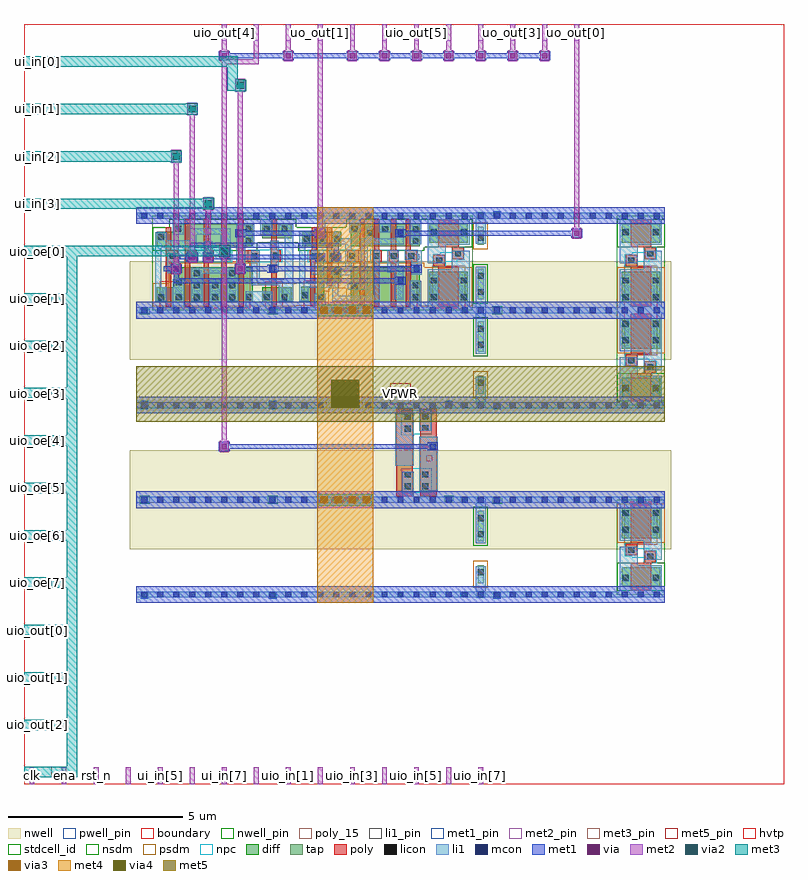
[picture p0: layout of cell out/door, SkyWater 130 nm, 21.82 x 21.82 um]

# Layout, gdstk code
import gdstk
lib = gdstk.Library(unit=1e-6, precision=1e-09)
def R(c, l, rs):  # rectangles x0, y0, x1, y1
    for r in rs: c.add(gdstk.rectangle(r[:2], r[2:], *l))
def A(c, l, x, y, w, h, nx, ny, dx, dy):  # array of equal rectangles
    R(c, l, [(x+i*dx, y+j*dy, x+i*dx+w, y+j*dy+h) for i in range(nx) for j in range(ny)])
nwell_pin = (64, 16)
nwell = (64, 20)
diff = (65, 20)
tap = (65, 44)
poly_15 = (66, 15)
poly = (66, 20)
licon = (66, 44)
li1_pin = (67, 16)
li1 = (67, 20)
mcon = (67, 44)
met1_pin = (68, 16)
met1 = (68, 20)
via = (68, 44)
met2_pin = (69, 16)
met2 = (69, 20)
via2 = (69, 44)
met3_pin = (70, 16)
met3 = (70, 20)
via3 = (70, 44)
met4 = (71, 20)
via4 = (71, 44)
met5_pin = (72, 16)
met5 = (72, 20)
hvtp = (78, 44)
stdcell_id = (81, 4)
nsdm = (93, 44)
psdm = (94, 20)
npc = (95, 20)
pwell_pin = (122, 16)
boundary = (235, 4)

sky130_fd_sc_hd__fill_8 = lib.new_cell('sky130_fd_sc_hd__fill_8')
R(sky130_fd_sc_hd__fill_8, nwell_pin, [(0.1,2.61,0.385,2.765)])
R(sky130_fd_sc_hd__fill_8, nwell, [(-0.19,1.305,3.87,2.91)])
R(sky130_fd_sc_hd__fill_8, li1, [(0,-0.085,3.68,0.085), (0,2.635,3.68,2.805)])
A(sky130_fd_sc_hd__fill_8, mcon, 0.145, -0.085, 0.17, 0.17, 8, 2, 0.46, 2.72)
R(sky130_fd_sc_hd__fill_8, met1_pin, [(0.175,-0.1,0.335,0.05), (0.145,2.615,0.335,2.775)])
R(sky130_fd_sc_hd__fill_8, met1, [(0,-0.24,3.68,0.24), (0,2.48,3.68,2.96)])
R(sky130_fd_sc_hd__fill_8, pwell_pin, [(0.13,-0.12,0.35,0.05)])
R(sky130_fd_sc_hd__fill_8, boundary, [(0,0,3.68,2.72)])
sky130_fd_sc_hd__fill_8.add(gdstk.Label('VGND', (0.255,-0.025), layer=68, texttype=5))
sky130_fd_sc_hd__fill_8.add(gdstk.Label('VPWR', (0.24,2.695), layer=68, texttype=5))
sky130_fd_sc_hd__fill_8.add(gdstk.Label('VPB', (0.242,2.687), layer=64, texttype=5))
sky130_fd_sc_hd__fill_8.add(gdstk.Label('VNB', (0.24,-0.035), layer=64, texttype=59))

sky130_fd_sc_hd__fill_4 = lib.new_cell('sky130_fd_sc_hd__fill_4')
R(sky130_fd_sc_hd__fill_4, nwell_pin, [(0.175,2.65,0.3,2.78)])
R(sky130_fd_sc_hd__fill_4, nwell, [(-0.19,1.305,2.03,2.91)])
R(sky130_fd_sc_hd__fill_4, li1, [(0,-0.085,1.84,0.085), (0,2.635,1.84,2.805)])
A(sky130_fd_sc_hd__fill_4, mcon, 0.145, -0.085, 0.17, 0.17, 4, 2, 0.46, 2.72)
R(sky130_fd_sc_hd__fill_4, met1_pin, [(0.17,-0.05,0.285,0.045), (0.17,2.675,0.27,2.76)])
R(sky130_fd_sc_hd__fill_4, met1, [(0,-0.24,1.84,0.24), (0,2.48,1.84,2.96)])
R(sky130_fd_sc_hd__fill_4, pwell_pin, [(0.175,-0.06,0.285,0.06)])
R(sky130_fd_sc_hd__fill_4, boundary, [(0,0,1.84,2.72)])
sky130_fd_sc_hd__fill_4.add(gdstk.Label('VGND', (0.227,-0.002), layer=68, texttype=5))
sky130_fd_sc_hd__fill_4.add(gdstk.Label('VPWR', (0.22,2.717), layer=68, texttype=5))
sky130_fd_sc_hd__fill_4.add(gdstk.Label('VPB', (0.237,2.715), layer=64, texttype=5))
sky130_fd_sc_hd__fill_4.add(gdstk.Label('VNB', (0.23,0), layer=64, texttype=59))

sky130_fd_sc_hd__conb_1 = lib.new_cell('sky130_fd_sc_hd__conb_1')
R(sky130_fd_sc_hd__conb_1, nwell_pin, [(0.145,2.635,0.315,2.805)])
R(sky130_fd_sc_hd__conb_1, nwell, [(-0.19,1.305,1.57,2.91)])
R(sky130_fd_sc_hd__conb_1, poly_15, [(0.105,1.16,0.585,1.205), (0.795,1.16,1.275,1.205)])
R(sky130_fd_sc_hd__conb_1, poly, [(0.105,0.105,0.585,2.615), (0.795,0.105,1.275,2.615)])
R(sky130_fd_sc_hd__conb_1, licon, [(0.855,0.235,1.025,0.405), (0.355,0.255,0.525,0.425), (0.855,0.575,1.025,0.745), (0.355,0.595,0.525,0.765), (0.355,1.91,0.525,2.08), (0.855,1.91,1.025,2.08), (0.355,2.25,0.525,2.42), (0.855,2.25,1.025,2.42)])
R(sky130_fd_sc_hd__conb_1, li1_pin, [(0.335,1.125,0.505,1.295), (0.97,1.445,1.14,1.615)])
R(sky130_fd_sc_hd__conb_1, li1, [(0,-0.085,1.38,0.085), (0.775,0.085,1.115,0.745), (0.085,0.255,0.605,1.74), (0.775,0.915,1.295,2.465), (0.275,1.91,0.605,2.635), (0,2.635,1.38,2.805)])
A(sky130_fd_sc_hd__conb_1, mcon, 0.145, -0.085, 0.17, 0.17, 3, 2, 0.46, 2.72)
R(sky130_fd_sc_hd__conb_1, met1_pin, [(0.145,-0.085,0.315,0.085), (0.145,2.635,0.315,2.805)])
R(sky130_fd_sc_hd__conb_1, met1, [(0,-0.24,1.38,0.24), (0,2.48,1.38,2.96)])
R(sky130_fd_sc_hd__conb_1, npc, [(0.755,0.135,1.125,0.155), (0.255,0.155,1.125,0.845), (0.255,0.845,0.625,0.865), (0.255,1.81,1.125,2.52)])
R(sky130_fd_sc_hd__conb_1, pwell_pin, [(0.145,-0.085,0.315,0.085)])
R(sky130_fd_sc_hd__conb_1, boundary, [(0,0,1.38,2.72)])
sky130_fd_sc_hd__conb_1.add(gdstk.Label('LO', (1.055,1.53), layer=67, texttype=5))
sky130_fd_sc_hd__conb_1.add(gdstk.Label('HI', (0.42,1.21), layer=67, texttype=5))
sky130_fd_sc_hd__conb_1.add(gdstk.Label('VPB', (0.23,2.72), layer=64, texttype=5))
sky130_fd_sc_hd__conb_1.add(gdstk.Label('VNB', (0.23,0), layer=64, texttype=59))
sky130_fd_sc_hd__conb_1.add(gdstk.Label('VGND', (0.23,0), layer=68, texttype=5))
sky130_fd_sc_hd__conb_1.add(gdstk.Label('VPWR', (0.23,2.72), layer=68, texttype=5))

sky130_fd_sc_hd__fill_1 = lib.new_cell('sky130_fd_sc_hd__fill_1')
R(sky130_fd_sc_hd__fill_1, nwell_pin, [(0.155,2.67,0.255,2.755)])
R(sky130_fd_sc_hd__fill_1, nwell, [(-0.19,1.305,0.65,2.91)])
R(sky130_fd_sc_hd__fill_1, li1, [(0,-0.085,0.46,0.085), (0,2.635,0.46,2.805)])
R(sky130_fd_sc_hd__fill_1, mcon, [(0.145,-0.085,0.315,0.085), (0.145,2.635,0.315,2.805)])
R(sky130_fd_sc_hd__fill_1, met1_pin, [(0.11,-0.065,0.29,0.08), (0.11,2.635,0.29,2.785)])
R(sky130_fd_sc_hd__fill_1, met1, [(0,-0.24,0.46,0.24), (0,2.48,0.46,2.96)])
R(sky130_fd_sc_hd__fill_1, pwell_pin, [(0.14,-0.055,0.26,0.055)])
R(sky130_fd_sc_hd__fill_1, boundary, [(0,0,0.46,2.72)])
sky130_fd_sc_hd__fill_1.add(gdstk.Label('VPWR', (0.2,2.71), layer=68, texttype=5))
sky130_fd_sc_hd__fill_1.add(gdstk.Label('VGND', (0.2,0.007), layer=68, texttype=5))
sky130_fd_sc_hd__fill_1.add(gdstk.Label('VPB', (0.205,2.712), layer=64, texttype=5))
sky130_fd_sc_hd__fill_1.add(gdstk.Label('VNB', (0.2,0), layer=64, texttype=59))

sky130_fd_sc_hd__tapvpwr = lib.new_cell('sky130_fd_sc_hd__tapvpwrvgnd_1')
R(sky130_fd_sc_hd__tapvpwr, nwell, [(-0.19,1.305,0.65,2.91)])
R(sky130_fd_sc_hd__tapvpwr, tap, [(0.145,0.32,0.315,0.845), (0.145,1.525,0.315,2.4)])
R(sky130_fd_sc_hd__tapvpwr, licon, [(0.145,0.555,0.315,0.725), (0.145,1.645,0.315,1.815), (0.145,2.11,0.315,2.28)])
R(sky130_fd_sc_hd__tapvpwr, li1, [(0,-0.085,0.46,0.085), (0.085,0.085,0.375,0.81), (0.085,1.47,0.375,2.635), (0,2.635,0.46,2.805)])
R(sky130_fd_sc_hd__tapvpwr, mcon, [(0.145,-0.085,0.315,0.085), (0.145,2.635,0.315,2.805)])
R(sky130_fd_sc_hd__tapvpwr, met1_pin, [(0.105,-0.09,0.36,0.1), (0.11,2.62,0.375,2.765)])
R(sky130_fd_sc_hd__tapvpwr, met1, [(0,-0.24,0.46,0.24), (0,2.48,0.46,2.96)])
R(sky130_fd_sc_hd__tapvpwr, nsdm, [(0.02,1.4,0.44,2.525)])
R(sky130_fd_sc_hd__tapvpwr, psdm, [(0.02,0.195,0.44,0.97)])
R(sky130_fd_sc_hd__tapvpwr, boundary, [(0,0,0.46,2.72)])
sky130_fd_sc_hd__tapvpwr.add(gdstk.Label('VPWR', (0.242,2.692), layer=68, texttype=5))
sky130_fd_sc_hd__tapvpwr.add(gdstk.Label('VGND', (0.232,0.005), layer=68, texttype=5))

sky130_fd_sc_hd__decap_3 = lib.new_cell('sky130_fd_sc_hd__decap_3')
R(sky130_fd_sc_hd__decap_3, nwell_pin, [(0.145,2.635,0.315,2.805)])
R(sky130_fd_sc_hd__decap_3, nwell, [(-0.19,1.305,1.57,2.91)])
R(sky130_fd_sc_hd__decap_3, diff, [(0.135,0.235,1.245,0.785), (0.135,1.615,1.245,2.485)])
R(sky130_fd_sc_hd__decap_3, poly, [(0.395,0.105,0.985,0.915), (0.795,0.915,0.985,0.925), (0.795,0.925,1.125,1.255), (0.255,1.125,0.585,1.455), (0.395,1.455,0.585,1.465), (0.395,1.465,0.985,2.615)])
R(sky130_fd_sc_hd__decap_3, licon, [(0.175,0.4,0.345,0.57), (1.035,0.4,1.205,0.57), (0.875,1.005,1.045,1.175), (0.335,1.205,0.505,1.375), (0.175,1.78,0.345,1.95), (1.035,1.78,1.205,1.95), (0.175,2.255,0.345,2.425), (1.035,2.255,1.205,2.425)])
R(sky130_fd_sc_hd__decap_3, li1, [(0,-0.085,1.38,0.085), (0.085,0.085,1.295,0.835), (0.085,0.835,0.605,1.375), (0.775,1.005,1.295,1.545), (0.085,1.545,1.295,2.635), (0,2.635,1.38,2.805)])
A(sky130_fd_sc_hd__decap_3, mcon, 0.145, -0.085, 0.17, 0.17, 3, 2, 0.46, 2.72)
R(sky130_fd_sc_hd__decap_3, met1_pin, [(0.145,-0.085,0.315,0.085), (0.145,2.635,0.315,2.805)])
R(sky130_fd_sc_hd__decap_3, met1, [(0,-0.24,1.38,0.24), (0,2.48,1.38,2.96)])
R(sky130_fd_sc_hd__decap_3, hvtp, [(0.215,1.435,1.165,2.665)])
R(sky130_fd_sc_hd__decap_3, stdcell_id, [(0,0,1.38,2.72)])
R(sky130_fd_sc_hd__decap_3, nsdm, [(0.01,0.11,1.37,0.91)])
R(sky130_fd_sc_hd__decap_3, psdm, [(0.01,1.49,1.37,2.61)])
R(sky130_fd_sc_hd__decap_3, npc, [(0.775,0.905,1.145,1.055), (0.445,1.055,1.145,1.105), (0.235,1.105,1.145,1.275), (0.235,1.275,0.935,1.325), (0.235,1.325,0.605,1.475)])
R(sky130_fd_sc_hd__decap_3, pwell_pin, [(0.145,-0.085,0.315,0.085)])
R(sky130_fd_sc_hd__decap_3, boundary, [(0,0,1.38,2.72)])
sky130_fd_sc_hd__decap_3.add(gdstk.Label('VPWR', (0.23,2.72), layer=68, texttype=5))
sky130_fd_sc_hd__decap_3.add(gdstk.Label('VGND', (0.23,0), layer=68, texttype=5))
sky130_fd_sc_hd__decap_3.add(gdstk.Label('VPB', (0.23,2.72), layer=64, texttype=5))
sky130_fd_sc_hd__decap_3.add(gdstk.Label('VNB', (0.23,0), layer=64, texttype=59))

sky130_fd_sc_hd__fill_2 = lib.new_cell('sky130_fd_sc_hd__fill_2')
R(sky130_fd_sc_hd__fill_2, nwell_pin, [(0.14,2.675,0.31,2.765)])
R(sky130_fd_sc_hd__fill_2, nwell, [(-0.19,1.305,1.11,2.91)])
R(sky130_fd_sc_hd__fill_2, li1, [(0,-0.085,0.92,0.085), (0,2.635,0.92,2.805)])
R(sky130_fd_sc_hd__fill_2, mcon, [(0.145,-0.085,0.315,0.085), (0.605,-0.085,0.775,0.085), (0.145,2.635,0.315,2.805), (0.605,2.635,0.775,2.805)])
R(sky130_fd_sc_hd__fill_2, met1_pin, [(0.1,-0.07,0.365,0.09), (0.105,2.65,0.365,2.805)])
R(sky130_fd_sc_hd__fill_2, met1, [(0,-0.24,0.92,0.24), (0,2.48,0.92,2.96)])
R(sky130_fd_sc_hd__fill_2, pwell_pin, [(0.155,-0.05,0.315,0.06)])
R(sky130_fd_sc_hd__fill_2, boundary, [(0,0,0.92,2.72)])
sky130_fd_sc_hd__fill_2.add(gdstk.Label('VGND', (0.232,0.01), layer=68, texttype=5))
sky130_fd_sc_hd__fill_2.add(gdstk.Label('VPWR', (0.235,2.727), layer=68, texttype=5))
sky130_fd_sc_hd__fill_2.add(gdstk.Label('VPB', (0.225,2.72), layer=64, texttype=5))
sky130_fd_sc_hd__fill_2.add(gdstk.Label('VNB', (0.235,0.005), layer=64, texttype=59))

sky130_fd_sc_hd__nand4bb = lib.new_cell('sky130_fd_sc_hd__nand4bb_1')
R(sky130_fd_sc_hd__nand4bb, nwell_pin, [(0.145,2.635,0.315,2.805)])
R(sky130_fd_sc_hd__nand4bb, nwell, [(-0.19,1.305,4.33,2.91)])
R(sky130_fd_sc_hd__nand4bb, diff, [(0.62,0.235,2.89,0.465), (3.16,0.235,4.005,0.655), (0.135,0.465,2.89,0.885), (0.62,1.485,2.89,2.065), (0.135,2.065,2.89,2.485), (3.16,2.065,4.005,2.485)])
A(sky130_fd_sc_hd__nand4bb, poly, 1.48, 0.105, 0.15, 0.89, 3, 1, 0.5, 0)
A(sky130_fd_sc_hd__nand4bb, poly, 1.48, 1.325, 0.15, 1.29, 3, 1, 0.5, 0)
R(sky130_fd_sc_hd__nand4bb, poly, [(0.94,0.105,1.09,0.995), (3.42,0.105,3.57,0.99), (0.395,0.335,0.545,0.995), (3.42,0.99,3.69,1.32), (0.395,0.995,0.73,1.325), (0.94,0.995,1.27,1.325), (1.48,0.995,1.77,1.325), (1.98,0.995,2.25,1.325), (2.48,0.995,3.09,1.325), (3.42,1.32,3.57,2.615), (0.395,1.325,0.545,2.615), (0.94,1.325,1.09,2.615)])
A(sky130_fd_sc_hd__nand4bb, licon, 1.2, 1.575, 0.17, 0.17, 1, 3, 0, 0.34)
A(sky130_fd_sc_hd__nand4bb, licon, 2.22, 1.575, 0.17, 0.17, 1, 3, 0, 0.34)
R(sky130_fd_sc_hd__nand4bb, licon, [(0.66,0.295,0.83,0.465), (2.68,0.295,2.85,0.465), (3.2,0.295,3.37,0.465), (3.715,0.295,3.885,0.465), (0.175,0.525,0.345,0.695), (2.68,0.635,2.85,0.805), (3.47,1.07,3.64,1.24), (0.51,1.075,0.68,1.245), (1.05,1.075,1.22,1.245), (1.55,1.075,1.72,1.245), (2.03,1.075,2.2,1.245), (2.84,1.075,3.01,1.245), (0.675,1.835,0.845,2.005), (1.72,1.915,1.89,2.085), (0.175,2.255,0.345,2.425), (0.675,2.255,0.845,2.425), (1.72,2.255,1.89,2.425), (2.68,2.255,2.85,2.425), (3.2,2.255,3.37,2.425), (3.715,2.255,3.885,2.425)])
A(sky130_fd_sc_hd__nand4bb, li1_pin, 2.45, 0.425, 0.17, 0.17, 1, 4, 0, 0.34)
A(sky130_fd_sc_hd__nand4bb, li1_pin, 0.61, 1.105, 0.17, 0.17, 3, 1, 0.46, 0)
R(sky130_fd_sc_hd__nand4bb, li1_pin, [(3.39,1.105,3.56,1.275), (3.39,1.445,3.56,1.615)])
R(sky130_fd_sc_hd__nand4bb, li1, [(0,-0.085,4.14,0.085), (0.595,0.085,0.9,0.545), (3.1,0.085,3.45,0.545), (2.42,0.255,2.93,0.825), (3.62,0.255,4.055,0.545), (1.08,0.365,2.25,0.555), (0.085,0.485,0.425,0.715), (3.81,0.545,4.055,1.835), (1.08,0.555,1.27,0.715), (1.97,0.555,2.25,1.325), (0.085,0.715,1.27,0.905), (3.39,0.725,3.64,1.615), (1.5,0.735,1.72,1.325), (2.42,0.825,2.67,1.495), (0.085,0.905,0.26,2.065), (2.84,0.995,3.09,1.835), (0.43,1.075,0.78,1.655), (0.97,1.075,1.32,1.325), (1.12,1.495,2.67,1.665), (1.12,1.665,1.45,2.465), (2.14,1.665,2.47,2.465), (0.595,1.835,0.925,2.635), (1.64,1.835,1.97,2.635), (2.84,1.835,4.055,2.005), (3.635,2.005,4.055,2.465), (0.085,2.065,0.425,2.465), (2.68,2.175,3.45,2.635), (0,2.635,4.14,2.805)])
A(sky130_fd_sc_hd__nand4bb, mcon, 0.145, -0.085, 0.17, 0.17, 9, 2, 0.46, 2.72)
R(sky130_fd_sc_hd__nand4bb, met1_pin, [(0.145,-0.085,0.315,0.085), (0.145,2.635,0.315,2.805)])
R(sky130_fd_sc_hd__nand4bb, met1, [(0,-0.24,4.14,0.24), (0,2.48,4.14,2.96)])
R(sky130_fd_sc_hd__nand4bb, hvtp, [(0.76,1.305,2.81,1.885), (0.215,1.885,2.81,2.665), (3.24,1.885,3.75,2.665)])
R(sky130_fd_sc_hd__nand4bb, stdcell_id, [(0,0,4.14,2.72)])
R(sky130_fd_sc_hd__nand4bb, nsdm, [(0.495,0.11,4.13,0.34), (0.01,0.34,4.13,0.78), (0.01,0.78,3.015,1.01)])
R(sky130_fd_sc_hd__nand4bb, psdm, [(0.495,1.36,3.015,1.94), (0.01,1.94,4.13,2.61)])
R(sky130_fd_sc_hd__nand4bb, npc, [(3.37,0.97,3.74,0.975), (0.41,0.975,2.3,1.345), (2.74,0.975,3.74,1.34), (2.74,1.34,3.11,1.345)])
R(sky130_fd_sc_hd__nand4bb, pwell_pin, [(0.145,-0.085,0.315,0.085)])
R(sky130_fd_sc_hd__nand4bb, boundary, [(0,0,4.14,2.72)])
sky130_fd_sc_hd__nand4bb.add(gdstk.Label('VNB', (0.23,0), layer=64, texttype=59))
sky130_fd_sc_hd__nand4bb.add(gdstk.Label('VPB', (0.23,2.72), layer=64, texttype=5))
sky130_fd_sc_hd__nand4bb.add(gdstk.Label('VPWR', (0.23,2.72), layer=68, texttype=5))
sky130_fd_sc_hd__nand4bb.add(gdstk.Label('VGND', (0.23,0), layer=68, texttype=5))
sky130_fd_sc_hd__nand4bb.add(gdstk.Label('A_N', (3.475,1.19), layer=67, texttype=5))
sky130_fd_sc_hd__nand4bb.add(gdstk.Label('A_N', (3.475,1.53), layer=67, texttype=5))
sky130_fd_sc_hd__nand4bb.add(gdstk.Label('Y', (2.535,0.51), layer=67, texttype=5))
sky130_fd_sc_hd__nand4bb.add(gdstk.Label('Y', (2.535,0.85), layer=67, texttype=5))
sky130_fd_sc_hd__nand4bb.add(gdstk.Label('Y', (2.535,1.19), layer=67, texttype=5))
sky130_fd_sc_hd__nand4bb.add(gdstk.Label('Y', (2.535,1.53), layer=67, texttype=5))
sky130_fd_sc_hd__nand4bb.add(gdstk.Label('C', (1.615,1.19), layer=67, texttype=5))
sky130_fd_sc_hd__nand4bb.add(gdstk.Label('D', (1.155,1.19), layer=67, texttype=5))
sky130_fd_sc_hd__nand4bb.add(gdstk.Label('B_N', (0.695,1.19), layer=67, texttype=5))

sky130_fd_sc_hd__nor4bb_ = lib.new_cell('sky130_fd_sc_hd__nor4bb_1')
R(sky130_fd_sc_hd__nor4bb_, nwell_pin, [(0.15,2.635,0.32,2.805)])
R(sky130_fd_sc_hd__nor4bb_, nwell, [(-0.19,1.305,3.87,2.91)])
R(sky130_fd_sc_hd__nor4bb_, diff, [(1.555,0.235,3.545,0.885), (0.175,0.465,1.285,0.885), (0.62,1.485,1.29,1.765), (1.565,1.485,3.545,1.895), (0.62,1.765,1.285,1.905), (1.555,1.895,3.545,2.485), (0.62,1.905,0.805,2.05), (0.135,2.05,0.805,2.47)])
R(sky130_fd_sc_hd__nor4bb_, poly, [(1.815,0.105,1.965,0.995), (2.235,0.105,2.385,0.995), (2.715,0.105,2.865,0.995), (3.135,0.105,3.285,0.995), (0.435,0.335,0.585,0.995), (0.875,0.335,1.025,0.995), (0.38,0.995,0.65,1.325), (0.87,0.995,1.2,1.325), (1.465,0.995,1.965,1.325), (2.175,0.995,2.445,1.325), (2.655,0.995,2.925,1.325), (3.135,0.995,3.47,1.325), (0.395,1.325,0.545,2.6), (0.88,1.325,1.03,2.035), (1.815,1.325,1.965,2.615), (2.235,1.325,2.385,2.615), (2.715,1.325,2.865,2.615), (3.135,1.325,3.285,2.615)])
R(sky130_fd_sc_hd__nor4bb_, licon, [(1.595,0.295,1.765,0.465), (2.465,0.305,2.635,0.475), (3.335,0.305,3.505,0.475), (2.015,0.41,2.185,0.58), (2.915,0.41,3.085,0.58), (0.215,0.575,0.385,0.745), (0.655,0.575,0.825,0.745), (1.075,0.575,1.245,0.745), (3.335,0.645,3.505,0.815), (0.43,1.075,0.6,1.245), (0.95,1.075,1.12,1.245), (1.515,1.075,1.685,1.245), (2.225,1.075,2.395,1.245), (2.705,1.075,2.875,1.245), (3.215,1.075,3.385,1.245), (1.08,1.545,1.25,1.715), (3.335,1.915,3.505,2.085), (1.595,1.955,1.765,2.125), (0.175,2.205,0.345,2.375), (0.595,2.24,0.765,2.41), (3.335,2.255,3.505,2.425)])
R(sky130_fd_sc_hd__nor4bb_, li1_pin, [(2.905,0.425,3.075,0.595), (0.61,1.105,0.78,1.275), (1.07,1.105,1.24,1.275), (3.365,1.105,3.535,1.275), (0.61,1.445,0.78,1.615), (2.905,1.445,3.075,1.615)])
R(sky130_fd_sc_hd__nor4bb_, li1, [(0,-0.085,3.68,0.085), (0.655,0.085,0.825,0.825), (1.515,0.085,1.845,0.48), (2.385,0.085,2.715,0.485), (3.255,0.085,3.585,0.825), (2.015,0.3,2.215,0.655), (2.885,0.31,3.085,0.655), (0.085,0.45,0.405,0.825), (1.075,0.45,1.245,0.655), (1.075,0.655,1.59,0.825), (1.855,0.655,3.085,0.825), (0.085,0.825,0.26,1.885), (1.41,0.825,1.59,0.995), (1.855,0.825,2.055,1.955), (0.43,0.995,0.78,1.695), (0.95,0.995,1.24,1.325), (1.41,0.995,1.685,1.325), (2.225,0.995,2.395,2.295), (2.615,0.995,2.945,1.445), (3.115,0.995,3.595,1.275), (3.295,1.275,3.595,1.705), (1.41,1.325,1.59,1.525), (2.615,1.445,3.085,1.63), (0.995,1.525,1.59,1.715), (2.825,1.63,3.085,2.41), (3.255,1.875,3.585,2.635), (0.085,1.885,1.205,2.07), (1.47,1.955,2.055,2.125), (0.085,2.07,0.345,2.455), (1.035,2.07,1.205,2.295), (0.515,2.24,0.845,2.635), (1.035,2.295,2.395,2.465), (0,2.635,3.68,2.805)])
A(sky130_fd_sc_hd__nor4bb_, mcon, 0.145, -0.085, 0.17, 0.17, 8, 2, 0.46, 2.72)
R(sky130_fd_sc_hd__nor4bb_, met1_pin, [(0.15,-0.085,0.32,0.085), (0.15,2.635,0.32,2.805)])
R(sky130_fd_sc_hd__nor4bb_, met1, [(0,-0.24,3.68,0.24), (0,2.48,3.68,2.96)])
R(sky130_fd_sc_hd__nor4bb_, hvtp, [(0.7,1.305,1.21,1.785), (1.635,1.305,3.465,2.665), (0.485,1.785,1.21,1.87), (0.215,1.87,1.21,2.085), (0.215,2.085,0.94,2.17), (0.215,2.17,0.725,2.65)])
R(sky130_fd_sc_hd__nor4bb_, stdcell_id, [(0,0,3.68,2.72)])
R(sky130_fd_sc_hd__nor4bb_, nsdm, [(1.43,0.11,3.67,0.34), (0.05,0.34,3.67,1.01)])
R(sky130_fd_sc_hd__nor4bb_, psdm, [(0.495,1.36,3.67,1.925), (0.01,1.925,3.67,2.09), (0.01,2.09,0.93,2.595), (1.43,2.09,3.67,2.61)])
R(sky130_fd_sc_hd__nor4bb_, npc, [(0.33,0.975,1.785,1.345), (2.125,0.975,3.485,1.345)])
R(sky130_fd_sc_hd__nor4bb_, pwell_pin, [(0.15,-0.085,0.32,0.085)])
R(sky130_fd_sc_hd__nor4bb_, boundary, [(0,0,3.68,2.72)])
sky130_fd_sc_hd__nor4bb_.add(gdstk.Label('VNB', (0.235,0), layer=64, texttype=59))
sky130_fd_sc_hd__nor4bb_.add(gdstk.Label('VPB', (0.235,2.72), layer=64, texttype=5))
sky130_fd_sc_hd__nor4bb_.add(gdstk.Label('VGND', (0.235,0), layer=68, texttype=5))
sky130_fd_sc_hd__nor4bb_.add(gdstk.Label('VPWR', (0.235,2.72), layer=68, texttype=5))
sky130_fd_sc_hd__nor4bb_.add(gdstk.Label('A', (3.45,1.19), layer=67, texttype=5))
sky130_fd_sc_hd__nor4bb_.add(gdstk.Label('Y', (2.99,0.51), layer=67, texttype=5))
sky130_fd_sc_hd__nor4bb_.add(gdstk.Label('B', (2.99,1.53), layer=67, texttype=5))
sky130_fd_sc_hd__nor4bb_.add(gdstk.Label('D_N', (1.155,1.19), layer=67, texttype=5))
sky130_fd_sc_hd__nor4bb_.add(gdstk.Label('C_N', (0.695,1.19), layer=67, texttype=5))
sky130_fd_sc_hd__nor4bb_.add(gdstk.Label('C_N', (0.695,1.53), layer=67, texttype=5))

out_door = lib.new_cell('out/door')
R(out_door, li1, [(11.645,9.605,11.815,9.775), (10.725,14.365,10.895,14.535), (4.285,14.705,4.455,14.875), (7.045,14.705,7.215,14.875), (11.185,14.705,11.355,14.875), (4.745,15.045,4.915,15.215), (5.205,15.045,5.375,15.215), (8.425,15.045,8.595,15.215), (8.885,15.045,9.055,15.215), (6.125,15.725,6.295,15.895), (10.725,15.725,10.895,15.895)])
R(out_door, mcon, [(11.645,9.605,11.815,9.775), (10.725,14.365,10.895,14.535), (4.285,14.705,4.455,14.875), (7.045,14.705,7.215,14.875), (11.185,14.705,11.355,14.875), (4.745,15.045,4.915,15.215), (5.205,15.045,5.375,15.215), (8.425,15.045,8.595,15.215), (8.885,15.045,9.055,15.215), (6.125,15.725,6.295,15.895), (10.725,15.725,10.895,15.895)])
A(out_door, met1, 3.22, 5.2, 15.18, 0.48, 1, 5, 0, 2.72)
A(out_door, met1, 5.59, 20.78, 0.32, 0.06, 3, 2, 1.84, 0.2)
A(out_door, met1, 10.19, 20.78, 0.32, 0.06, 6, 2, 0.92, 0.2)
R(out_door, met1, [(5.59,9.56,5.91,9.62), (11.585,9.575,11.875,9.62), (5.59,9.62,11.875,9.76), (5.59,9.76,5.91,9.82), (11.585,9.76,11.875,9.805), (10.665,14.335,10.955,14.38), (4.3,14.38,10.955,14.52), (4.3,14.52,4.44,14.66), (10.665,14.52,10.955,14.565), (4.21,14.66,4.53,14.72), (6.05,14.66,6.37,14.72), (6.985,14.675,7.275,14.72), (11.125,14.675,11.415,14.72), (4.015,14.72,4.53,14.86), (6.05,14.72,11.415,14.86), (4.21,14.86,4.53,14.92), (6.05,14.86,6.37,14.92), (6.985,14.86,7.275,14.905), (11.125,14.86,11.415,14.905), (4.67,15,4.99,15.06), (5.13,15,5.45,15.06), (8.365,15.015,8.655,15.06), (8.825,15.015,9.115,15.245), (4.475,15.06,4.99,15.2), (5.13,15.06,8.655,15.2), (4.67,15.2,4.99,15.26), (5.13,15.2,5.45,15.26), (8.365,15.2,8.655,15.245), (8.9,15.245,9.04,15.4), (4.76,15.26,4.9,15.4), (4.76,15.4,9.04,15.54), (8.35,15.68,8.67,15.74), (15.71,15.68,16.03,15.74), (6.065,15.695,6.355,15.74), (10.665,15.695,10.955,15.74), (6.065,15.74,8.67,15.88), (10.665,15.74,16.03,15.88), (6.065,15.88,6.355,15.925), (8.35,15.88,8.67,15.94), (10.665,15.88,10.955,15.925), (15.71,15.88,16.03,15.94), (5.59,20.84,15.11,20.98)])
A(out_door, via, 8.505, 8.085, 0.15, 0.15, 5, 2, 0.32, 5.44)
A(out_door, via, 5.675, 20.835, 0.15, 0.15, 3, 1, 1.84, 0)
A(out_door, via, 10.275, 20.835, 0.15, 0.15, 6, 1, 0.92, 0)
R(out_door, via, [(5.675,9.615,5.825,9.765), (4.295,14.715,4.445,14.865), (6.135,14.715,6.285,14.865), (4.755,15.055,4.905,15.205), (5.215,15.055,5.365,15.205), (8.435,15.735,8.585,15.885), (15.795,15.735,15.945,15.885)])
A(out_door, met2_pin, 0.16, 0, 0.14, 0.485, 15, 1, 0.92, 0)
A(out_door, met2_pin, 5.68, 21.335, 0.14, 0.485, 12, 1, 0.92, 0)
A(out_door, met2, 0.16, 0, 0.14, 0.485, 15, 1, 0.92, 0)
A(out_door, met2, 9.3, 20.75, 0.26, 0.32, 7, 1, 0.92, 0)
A(out_door, met2, 5.68, 21.07, 0.14, 0.75, 3, 1, 1.84, 0)
A(out_door, met2, 10.28, 21.07, 0.14, 0.75, 6, 1, 0.92, 0)
R(out_door, met2, [(8.45,7.92,9.99,8.4), (5.62,9.53,5.88,9.85), (5.68,9.85,5.82,15.115), (8.45,13.36,9.99,13.84), (4.24,14.63,4.5,14.95), (6.08,14.63,6.34,14.95), (4.3,14.95,4.44,17.835), (6.14,14.95,6.28,19.875), (4.7,14.97,4.96,15.29), (5.16,14.97,5.42,15.29), (5.61,15.115,5.89,15.485), (4.76,15.29,4.9,19.195), (5.22,15.29,5.36,16.475), (5.68,15.485,5.82,20.67), (8.38,15.65,8.64,15.97), (15.74,15.65,16,15.97), (8.44,15.97,8.58,21.82), (15.8,15.97,15.94,21.82), (5.15,16.475,5.43,16.845), (4.23,17.835,4.51,18.205), (4.69,19.195,4.97,19.565), (6.07,19.875,6.35,20.245), (5.68,20.67,6.74,20.75), (5.62,20.75,6.74,20.81), (7.46,20.75,7.72,21.07), (5.62,20.81,5.88,21.07), (6.6,20.81,6.74,21.82)])
A(out_door, via2, 8.52, 8.06, 0.2, 0.2, 4, 2, 0.4, 5.44)
R(out_door, via2, [(5.65,15.2,5.85,15.4), (5.19,16.56,5.39,16.76), (4.27,17.92,4.47,18.12), (4.73,19.28,4.93,19.48), (6.11,19.96,6.31,20.16)])
A(out_door, met3_pin, 0, 0.19, 0.8, 0.3, 1, 16, 0, 1.36)
A(out_door, met3, 0, 0.19, 1.53, 0.3, 1, 11, 0, 1.36)
A(out_door, met3, 1.23, 0.49, 0.3, 1.06, 1, 11, 0, 1.36)
R(out_door, met3, [(8.42,7.995,10.02,8.325), (8.42,13.435,10.02,13.765), (5.585,15.135,5.915,15.15), (0,15.15,5.915,15.45), (5.585,15.45,5.915,15.465), (5.125,16.495,5.455,16.51), (0,16.51,5.455,16.81), (5.125,16.81,5.455,16.825), (4.205,17.855,4.535,17.87), (0,17.87,4.535,18.17), (4.205,18.17,4.535,18.185), (4.665,19.215,4.995,19.23), (0,19.23,4.995,19.53), (4.665,19.53,4.995,19.545), (6.045,19.895,6.375,19.91), (5.83,19.91,6.375,20.225), (5.83,20.225,6.13,20.59), (0,20.59,6.13,20.89)])
A(out_door, via3, 8.52, 8.06, 0.2, 0.2, 4, 2, 0.4, 5.44)
R(out_door, met4, [(8.42,5.2,10.02,16.56)])
R(out_door, via4, [(8.82,10.8,9.62,11.6)])
R(out_door, met5_pin, [(10.51,10.9,11.11,11.5)])
R(out_door, met5, [(3.22,10.4,18.4,12)])
R(out_door, hvtp, [(17.235,13.545,18.185,13.655)])
R(out_door, nsdm, [(11.49,15.41,11.51,16.21), (7.81,15.54,7.87,15.98)])
R(out_door, psdm, [(17.03,13.49,18.39,13.71), (11.49,13.71,11.51,14.83), (7.81,13.725,7.83,14.38)])
R(out_door, boundary, [(0,0,21.82,21.82)])
out_door.add(gdstk.Reference(sky130_fd_sc_hd__fill_8, (3.22,5.44)))
out_door.add(gdstk.Reference(sky130_fd_sc_hd__fill_8, (6.9,5.44)))
out_door.add(gdstk.Reference(sky130_fd_sc_hd__fill_8, (3.22,10.88), x_reflection=True))
out_door.add(gdstk.Reference(sky130_fd_sc_hd__fill_8, (6.9,10.88), x_reflection=True))
out_door.add(gdstk.Reference(sky130_fd_sc_hd__fill_4, (10.58,5.44)))
out_door.add(gdstk.Reference(sky130_fd_sc_hd__fill_8, (11.96,10.88), x_reflection=True))
out_door.add(gdstk.Reference(sky130_fd_sc_hd__conb_1, (10.58,10.88), x_reflection=True))
out_door.add(gdstk.Reference(sky130_fd_sc_hd__fill_1, (12.42,5.44)))
out_door.add(gdstk.Reference(sky130_fd_sc_hd__fill_8, (13.34,5.44)))
out_door.add(gdstk.Reference(sky130_fd_sc_hd__fill_4, (15.64,10.88), x_reflection=True))
out_door.add(gdstk.Reference(sky130_fd_sc_hd__tapvpwr, (12.88,5.44)))
out_door.add(gdstk.Reference(sky130_fd_sc_hd__decap_3, (17.02,5.44)))
out_door.add(gdstk.Reference(sky130_fd_sc_hd__fill_2, (17.48,10.88), x_reflection=True))
out_door.add(gdstk.Reference(sky130_fd_sc_hd__fill_8, (3.22,10.88)))
out_door.add(gdstk.Reference(sky130_fd_sc_hd__fill_8, (6.9,10.88)))
out_door.add(gdstk.Reference(sky130_fd_sc_hd__fill_4, (10.58,10.88)))
out_door.add(gdstk.Reference(sky130_fd_sc_hd__fill_1, (12.42,10.88)))
out_door.add(gdstk.Reference(sky130_fd_sc_hd__fill_8, (13.34,10.88)))
out_door.add(gdstk.Reference(sky130_fd_sc_hd__tapvpwr, (12.88,10.88)))
out_door.add(gdstk.Reference(sky130_fd_sc_hd__decap_3, (17.02,10.88)))
out_door.add(gdstk.Reference(sky130_fd_sc_hd__fill_1, (3.22,16.32), x_reflection=True))
out_door.add(gdstk.Reference(sky130_fd_sc_hd__nand4bb, (3.68,16.32), x_reflection=True))
out_door.add(gdstk.Reference(sky130_fd_sc_hd__decap_3, (11.5,16.32), x_reflection=True))
out_door.add(gdstk.Reference(sky130_fd_sc_hd__nor4bb_, (7.82,16.32), x_reflection=True))
out_door.add(gdstk.Reference(sky130_fd_sc_hd__fill_8, (13.34,16.32), x_reflection=True))
out_door.add(gdstk.Reference(sky130_fd_sc_hd__tapvpwr, (12.88,16.32), x_reflection=True))
out_door.add(gdstk.Reference(sky130_fd_sc_hd__decap_3, (17.02,16.32), x_reflection=True))
out_door.add(gdstk.Label('clk', (0.23,0.242), layer=69, texttype=5))
out_door.add(gdstk.Label('ena', (1.15,0.242), layer=69, texttype=5))
out_door.add(gdstk.Label('rst_n', (2.07,0.242), layer=69, texttype=5))
out_door.add(gdstk.Label('ui_in[0]', (0.4,20.74), layer=70, texttype=5))
out_door.add(gdstk.Label('ui_in[1]', (0.4,19.38), layer=70, texttype=5))
out_door.add(gdstk.Label('ui_in[2]', (0.4,18.02), layer=70, texttype=5))
out_door.add(gdstk.Label('ui_in[3]', (0.4,16.66), layer=70, texttype=5))
out_door.add(gdstk.Label('ui_in[4]', (2.99,0.242), layer=69, texttype=5))
out_door.add(gdstk.Label('ui_in[5]', (3.91,0.242), layer=69, texttype=5))
out_door.add(gdstk.Label('ui_in[6]', (4.83,0.242), layer=69, texttype=5))
out_door.add(gdstk.Label('ui_in[7]', (5.75,0.242), layer=69, texttype=5))
out_door.add(gdstk.Label('uio_in[0]', (6.67,0.242), layer=69, texttype=5))
out_door.add(gdstk.Label('uio_in[1]', (7.59,0.242), layer=69, texttype=5))
out_door.add(gdstk.Label('uio_in[2]', (8.51,0.242), layer=69, texttype=5))
out_door.add(gdstk.Label('uio_in[3]', (9.43,0.242), layer=69, texttype=5))
out_door.add(gdstk.Label('uio_in[4]', (10.35,0.242), layer=69, texttype=5))
out_door.add(gdstk.Label('uio_in[5]', (11.27,0.242), layer=69, texttype=5))
out_door.add(gdstk.Label('uio_in[6]', (12.19,0.242), layer=69, texttype=5))
out_door.add(gdstk.Label('uio_in[7]', (13.11,0.242), layer=69, texttype=5))
out_door.add(gdstk.Label('uio_oe[0]', (0.4,15.3), layer=70, texttype=5))
out_door.add(gdstk.Label('uio_oe[1]', (0.4,13.94), layer=70, texttype=5))
out_door.add(gdstk.Label('uio_oe[2]', (0.4,12.58), layer=70, texttype=5))
out_door.add(gdstk.Label('uio_oe[3]', (0.4,11.22), layer=70, texttype=5))
out_door.add(gdstk.Label('uio_oe[4]', (0.4,9.86), layer=70, texttype=5))
out_door.add(gdstk.Label('uio_oe[5]', (0.4,8.5), layer=70, texttype=5))
out_door.add(gdstk.Label('uio_oe[6]', (0.4,7.14), layer=70, texttype=5))
out_door.add(gdstk.Label('uio_oe[7]', (0.4,5.78), layer=70, texttype=5))
out_door.add(gdstk.Label('uio_out[0]', (0.4,4.42), layer=70, texttype=5))
out_door.add(gdstk.Label('uio_out[1]', (0.4,3.06), layer=70, texttype=5))
out_door.add(gdstk.Label('uio_out[2]', (0.4,1.7), layer=70, texttype=5))
out_door.add(gdstk.Label('uio_out[3]', (0.4,0.34), layer=70, texttype=5))
out_door.add(gdstk.Label('uio_out[4]', (5.75,21.577), layer=69, texttype=5))
out_door.add(gdstk.Label('uio_out[5]', (11.27,21.577), layer=69, texttype=5))
out_door.add(gdstk.Label('uio_out[6]', (12.19,21.577), layer=69, texttype=5))
out_door.add(gdstk.Label('uio_out[7]', (6.67,21.577), layer=69, texttype=5))
out_door.add(gdstk.Label('uo_out[0]', (15.87,21.577), layer=69, texttype=5))
out_door.add(gdstk.Label('uo_out[1]', (8.51,21.577), layer=69, texttype=5))
out_door.add(gdstk.Label('uo_out[2]', (7.59,21.577), layer=69, texttype=5))
out_door.add(gdstk.Label('uo_out[3]', (14.03,21.577), layer=69, texttype=5))
out_door.add(gdstk.Label('uo_out[4]', (14.95,21.577), layer=69, texttype=5))
out_door.add(gdstk.Label('uo_out[5]', (9.43,21.577), layer=69, texttype=5))
out_door.add(gdstk.Label('uo_out[6]', (13.11,21.577), layer=69, texttype=5))
out_door.add(gdstk.Label('uo_out[7]', (10.35,21.577), layer=69, texttype=5))
out_door.add(gdstk.Label('VPWR', (10.81,11.2), layer=72, texttype=5))

lib.write_gds('out_door.gds')
